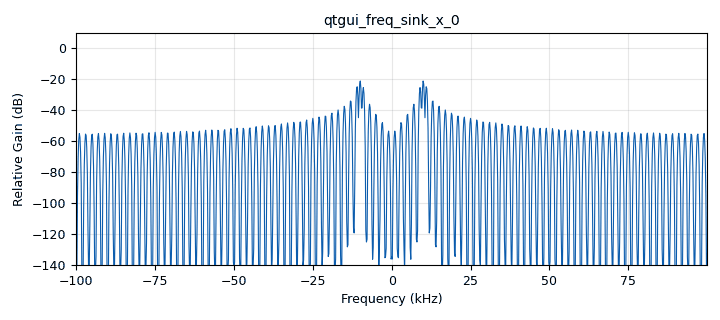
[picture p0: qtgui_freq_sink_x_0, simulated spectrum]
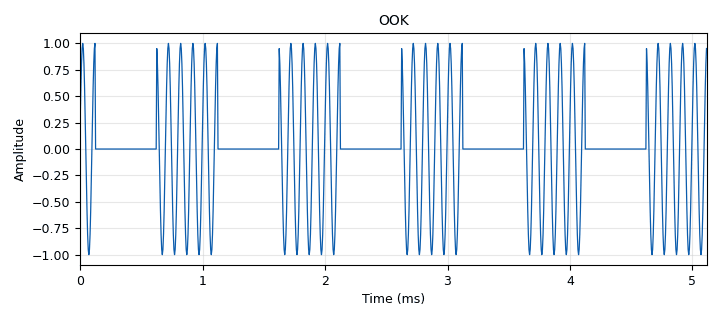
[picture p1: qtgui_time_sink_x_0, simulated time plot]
options:
  parameters:
    author: wcc
    generate_options: qt_gui
    id: lab1_ask_mod
    output_language: python
    title: lab1_ask_mod
  states: {}

blocks:
- name: samp_rate
  id: variable
  parameters:
    value: '200000'
  states: {}
- name: analog_sig_source_x_0
  id: analog_sig_source_x
  parameters:
    amp: '1'
    freq: '10000'
    offset: '0'
    phase: '0'
    samp_rate: samp_rate
    type: float
    waveform: analog.GR_COS_WAVE
  states: {}
- name: analog_sig_source_x_1
  id: analog_sig_source_x
  parameters:
    amp: '1'
    freq: '1000'
    offset: '0'
    phase: '0'
    samp_rate: samp_rate
    type: float
    waveform: analog.GR_SQR_WAVE
  states: {}
- name: blocks_multiply_xx_0
  id: blocks_multiply_xx
  parameters:
    type: float
  states: {}
- name: blocks_throttle_0
  id: blocks_throttle
  parameters:
    samples_per_second: samp_rate
    type: float
  states: {}
- name: qtgui_freq_sink_x_0
  id: qtgui_freq_sink_x
  parameters:
    bw: samp_rate
    fc: '0'
    fftsize: '1024'
    type: float
    wintype: firdes.WIN_BLACKMAN_hARRIS
  states: {}
- name: qtgui_time_sink_x_0
  id: qtgui_time_sink_x
  parameters:
    autoscale: 'True'
    name: OOK
    size: '1024'
    srate: samp_rate
    type: float
  states: {}

connections:
- [analog_sig_source_x_0, '0', blocks_multiply_xx_0, '0']
- [analog_sig_source_x_1, '0', blocks_multiply_xx_0, '1']
- [blocks_multiply_xx_0, '0', blocks_throttle_0, '0']
- [blocks_throttle_0, '0', qtgui_freq_sink_x_0, '0']
- [blocks_throttle_0, '0', qtgui_time_sink_x_0, '0']

metadata:
  file_format: 1
